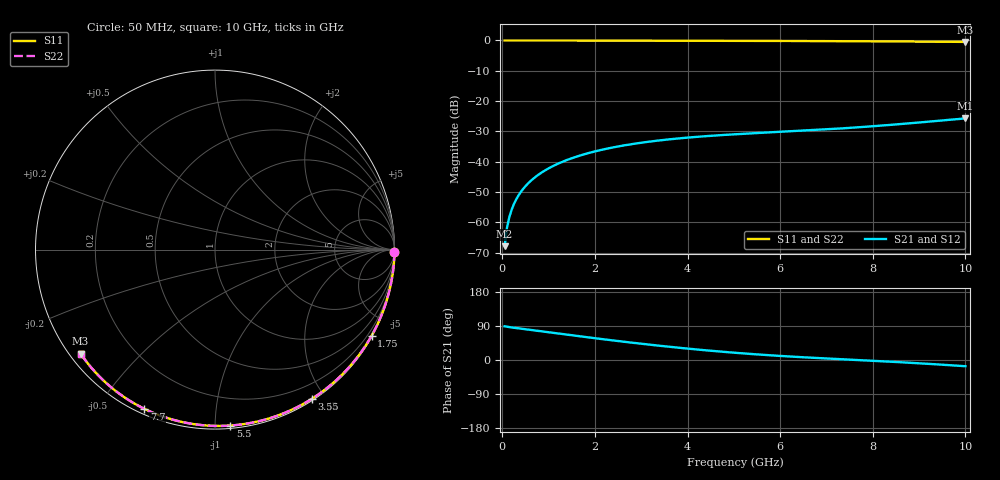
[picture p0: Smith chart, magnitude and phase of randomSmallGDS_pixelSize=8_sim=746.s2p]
! freq	dB(S11)	phase(S11)	dB(S12)	phase(S12)
!  dB(S21)	phase(S21)	dB(S22)	phase(S22)
!S-par simulation data
#  GHz  S  DB  R 50
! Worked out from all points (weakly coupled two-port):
!   200 points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, 50 MHz to 10 GHz, reference 50 ohm
!   highest |S21| = -25.71 dB at 10 GHz (marker M1); lowest = -67.9 dB at 50 MHz (marker M2)
!   lowest |S11| = -0.5 dB at 10 GHz (marker M3), VSWR 36.54, Z = 1.53 - j17.1 ohm
!   |S11| at or under -10 dB: nowhere
!   |S22| runs from -0.5 to 0.0 dB; largest |S21 - S12| = 0
!   S11 on the Smith chart (normalised r, x): 50 MHz: open; 1.75 GHz: 0.03, -3.89; 3.55 GHz: 0.02, -1.84; 5.5 GHz: 0.02, -1.09; 7.7 GHz: 0.02, -0.65; 10 GHz: 0.03, -0.34
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0.05  -0.00 -0.8  -67.86 88.9  -67.86 88.9  -0.00 -0.8
0.1  -0.00 -1.7  -61.87 87.8  -61.87 87.8  -0.00 -1.7
0.15  -0.00 -2.5  -58.38 86.8  -58.38 86.8  -0.00 -2.5
0.2  -0.00 -3.4  -55.92 85.9  -55.92 85.9  -0.00 -3.4
0.25  -0.00 -4.2  -54.01 85.1  -54.01 85.1  -0.00 -4.2
0.35  -0.00 -5.9  -51.13 83.5  -51.13 83.5  -0.00 -5.9
0.5  -0.01 -8.4  -48.08 81.2  -48.08 81.2  -0.01 -8.4
0.7  -0.01 -11.7  -45.20 78.0  -45.20 78.0  -0.01 -11.7
1  -0.02 -16.6  -42.19 73.2  -42.19 73.2  -0.02 -16.6
1.35  -0.03 -22.3  -39.71 67.6  -39.71 67.6  -0.03 -22.3
1.75  -0.04 -28.8  -37.63 61.3  -37.63 61.3  -0.04 -28.8
2.5  -0.05 -40.8  -34.97 50.0  -34.97 50.0  -0.05 -40.8
3.4  -0.07 -54.7  -32.96 37.5  -32.96 37.5  -0.07 -54.7
3.55  -0.08 -56.9  -32.71 35.6  -32.71 35.6  -0.08 -56.9
4.3  -0.10 -68.0  -31.68 26.6  -31.68 26.6  -0.10 -68.0
5.05  -0.12 -78.7  -30.93 18.8  -30.93 18.8  -0.12 -78.7
5.5  -0.14 -85.0  -30.55 14.8  -30.55 14.8  -0.14 -85.0
6.7  -0.20 -101.1  -29.59 5.9  -29.59 5.9  -0.20 -101.1
7.7  -0.26 -113.9  -28.63 -0.2  -28.63 -0.2  -0.26 -113.9
8.35  -0.31 -122.0  -27.88 -4.2  -27.88 -4.2  -0.31 -122.0
9.2  -0.39 -132.5  -26.80 -10.1  -26.80 -10.1  -0.39 -132.5
10  -0.48 -142.3  -25.71 -16.4  -25.71 -16.4  -0.48 -142.3
